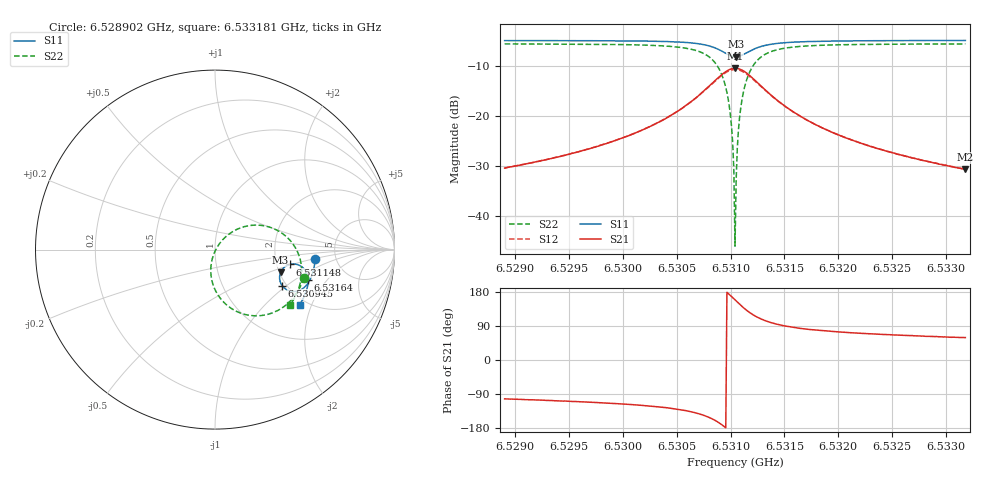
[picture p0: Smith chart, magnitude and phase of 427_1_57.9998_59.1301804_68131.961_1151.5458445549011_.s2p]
#  HZ  S  RI  R  50.00
! Rohde & Schwarz Vector Network Analyzer
! Rohde-Schwarz,ZNB20-2Port,1311601062101988,3.16
! Created: UTC 3/21/2024, 1:09:23 AM
! freq[Hz]  re:S11  im:S11  re:S21  im:S21  re:S12  im:S12  re:S22  im:S22
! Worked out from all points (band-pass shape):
!   401 points, 6.528902 GHz to 6.533181 GHz, reference 50 ohm
!   highest |S21| = -10.53 dB at 6.531042 GHz (marker M1); lowest = -30.7 dB at 6.533181 GHz (marker M2)
!   |S21| within 3 dB of the highest: 6.530829 GHz to 6.531257 GHz (427.2 kHz wide, 0.00654 % of centre)
!   lowest |S11| = -8.2 dB at 6.531052 GHz (marker M3), VSWR 2.26, Z = 102 - j30.3 ohm
!   |S11| at or under -10 dB: nowhere
!   |S22| runs from -46.0 to -5.7 dB; largest |S21 - S12| = 0.011
!   S11 on the Smith chart (normalised r, x): 6.528902 GHz: 3.46, -0.54; 6.530945 GHz: 1.90, -0.93; 6.531148 GHz: 2.36, -0.48; 6.53164 GHz: 2.71, -1.29; 6.533181 GHz: 1.82, -1.65
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6.5289022e9  0.5586 -0.0539  -0.0066 -0.0293  -0.00709 -0.0293  0.4963 -0.1566
6.5296189e9  0.5486 -0.1129  -0.0156 -0.042  -0.0166 -0.0417  0.4665 -0.2226
6.5303356e9  0.5209 -0.1827  -0.0481 -0.0718  -0.0499 -0.0707  0.3879 -0.3147
6.5307634e9  0.4521 -0.2324  -0.1522 -0.0978  -0.1547 -0.0918  0.1874 -0.3654
6.5308704e9  0.4086 -0.2278  -0.2197 -0.0729  -0.2193 -0.0638  0.072 -0.314
6.5309452e9  0.3748 -0.2017  -0.2699 -0.0166  -0.2648 -0.00722  -0.00493 -0.2114
6.5309987e9  0.3605 -0.1671  -0.2868 0.049  -0.2782 0.0561  -0.0231 -0.0996
6.5310094e9  0.3598 -0.1592  -0.2867 0.0638  -0.2774 0.07  -0.0205 -0.0754
6.5310201e9  0.36 -0.151  -0.285 0.0786  -0.2753 0.084  -0.0153 -0.0512
6.5310308e9  0.361 -0.1428  -0.2819 0.0933  -0.2718 0.0978  -0.00765 -0.0275
6.5310415e9  0.363 -0.1347  -0.2773 0.1077  -0.2669 0.1113  0.00223 -0.00449
6.5310522e9  0.3657 -0.1269  -0.2711 0.1218  -0.2607 0.1244  0.0145 0.0176
6.5310629e9  0.3693 -0.1195  -0.2637 0.1349  -0.2535 0.1367  0.0288 0.0381
6.5310736e9  0.3736 -0.1125  -0.2549 0.1472  -0.2451 0.148  0.0447 0.0569
6.531095e9  0.3841 -0.1004  -0.2349 0.1684  -0.2257 0.1678  0.0813 0.089
6.5311485e9  0.4163 -0.0826  -0.1764 0.2003  -0.17 0.1975  0.1831 0.1323
6.5312126e9  0.4527 -0.0817  -0.112 0.2045  -0.1084 0.2015  0.2918 0.1286
6.5313089e9  0.4888 -0.1001  -0.0491 0.1799  -0.0472 0.178  0.3957 0.0738
6.5316405e9  0.5188 -0.1674  0.011 0.0993  0.0121 0.0991  0.4817 -0.0932
6.5317582e9  0.5186 -0.1843  0.0149 0.0836  0.016 0.0834  0.483 -0.1282
6.5324748e9  0.4987 -0.2561  0.0172 0.0401  0.018 0.0399  0.4553 -0.2446
6.5331808e9  0.4712 -0.3082  0.015 0.0251  0.0155 0.0249  0.4204 -0.3061
